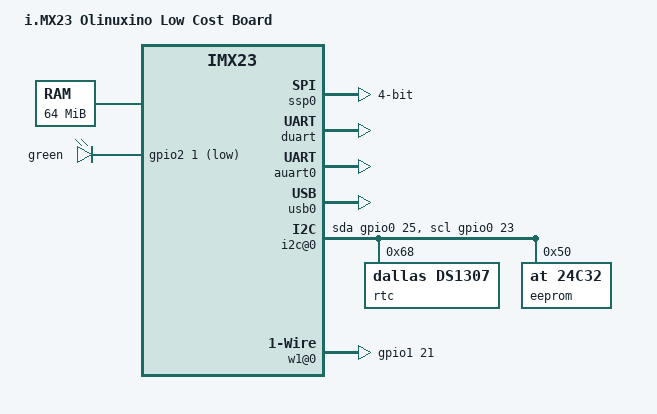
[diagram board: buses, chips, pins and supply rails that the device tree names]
/*
 * Sample configuration for an olinuxino hooked to a
 * 1wire thermal sensor, a i2c RTC module, and a pair of relays
 * (C) Michel Pollet <buserror@gmail.com>
 */

/dts-v1/;


/include/ "imx23.dtsi"

/ {
	model = "i.MX23 Olinuxino Low Cost Board";
	compatible = "olimex,imx23-olinuxino", "fsl,imx23";

	memory {
		reg = <0x40000000 0x04000000>;
	};

	apb@80000000 {
		apbh@80000000 {
			pinctrl@80018000 {
				i2c_gpio: i2c_gpio {
					reg = <0>;
					fsl,pinmux-ids = <
						0x0173	// MX23_PAD_GPMI_WPN__GPIO_0_23
						0x0193	// MX23_PAD_GPMI_RDN__GPIO_0_25
					>;
					fsl,pull-up = <1>;
				};
				w1_gpio: w1_gpio {
					reg = <0>;
					fsl,pinmux-ids = <
						0x1153	// MX23_PAD_LCD_CS__GPIO_1_21
					>;
					fsl,pull-up = <1>;
				};
			};
			ssp0: ssp@80010000 {
				compatible = "fsl,imx23-mmc";
				pinctrl-names = "default";
				pinctrl-0 = <&mmc0_4bit_pins_a &mmc0_pins_fixup>;
				bus-width = <4>;
				status = "okay";
			};

			pinctrl@80018000 {
				pinctrl-names = "default";
				pinctrl-0 = <&hog_pins_a>;

				hog_pins_a: hog@0 {
					reg = <0>;
					fsl,pinmux-ids = <
						0x0113 /* MX23_PAD_GPMI_ALE__GPIO_0_17 */
					>;
					fsl,drive-strength = <0>;
					fsl,voltage = <1>;
					fsl,pull-up = <0>;
				};

				led_pin_gpio2_1: led_gpio2_1@0 {
					reg = <0>;
					fsl,pinmux-ids = <
						0x2013 /* MX23_PAD_SSP1_DETECT__GPIO_2_1 */
					>;
					fsl,drive-strength = <0>;
					fsl,voltage = <1>;
					fsl,pull-up = <0>;
				};
			};
		};

		apbx@80040000 {
			duart: serial@80070000 {
				pinctrl-names = "default";
				pinctrl-0 = <&duart_pins_a>;
				status = "okay";
			};

			auart0: serial@8006c000 {
				pinctrl-names = "default";
				pinctrl-0 = <&auart0_2pins_a>;
				status = "okay";
			};

			usbphy0: usbphy@8007c000 {
				status = "okay";
			};
			/* Disable built in RTC, we use the i2c one */
			rtc@8005c000 {
				status = "disable";
			};
		};
	};

	ahb@80080000 {
		usb0: usb@80080000 {
			status = "okay";
		};
	};

	leds {
		compatible = "gpio-leds";
		pinctrl-names = "default";
		pinctrl-0 = <&led_pin_gpio2_1>;

		user {
			label = "green";
			gpios = <&gpio2 1 1>;
			linux,default-trigger = "heartbeat";
		};
	};

	/*
	 * maxi declares the i2c by default as software -- so instanciate a linux driver
	 * for it
	 */
	i2c@0 {
		compatible = "i2c-gpio";
		gpios = <&gpio0 25 0 /* sda */
			 &gpio0 23 0 /* scl */
			>;
		i2c-gpio,delay-us = <2>;	/* ~100 kHz */
		i2c-gpio,scl-output-only = <0>;
		i2c-gpio,sda-open-drain = <1>;
		
		pinctrl-names = "default";
		pinctrl-0 = <&i2c_gpio>;

		status = "okay";
		rtc@68 {
			compatible = "dallas,ds1307";
			reg = <0x68>;
		};
		eeprom@50 {
			compatible = "at,24c32";
			reg = <0x50>;
		};
	};

	/* Onewire sensor(s) are hooked to pin "26" on the schematic
	 * AKA LCD_CS, AKA GPIO1 pin 21 */
	w1@0 {
		compatible = "w1-gpio";
		gpios = <&gpio1 21 0>;
		status = "okay";
		pinctrl-names = "default";
		pinctrl-0 = <&w1_gpio>;
	};

};
